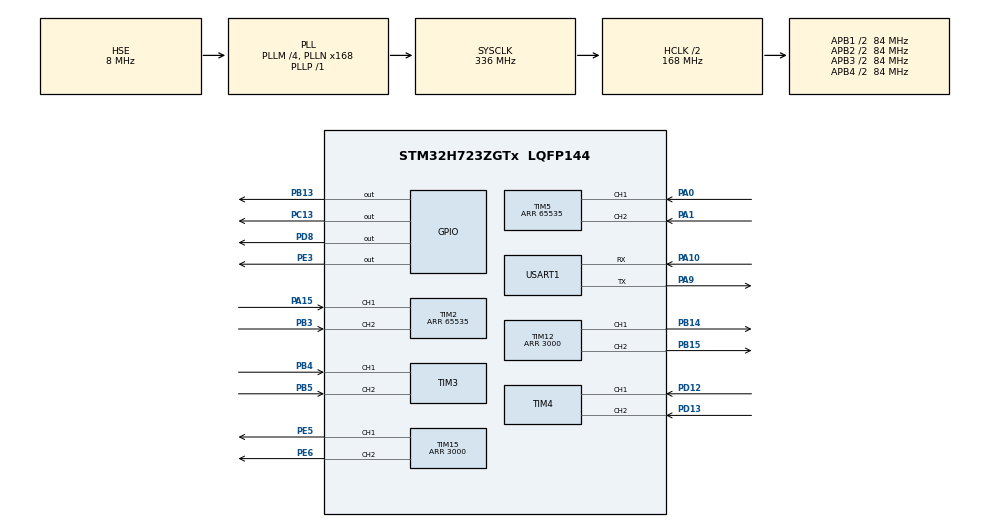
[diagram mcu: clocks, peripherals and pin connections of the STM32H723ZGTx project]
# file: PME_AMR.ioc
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Dma.Request0=USART1_RX
Dma.Request1=USART1_TX
Dma.USART1_RX.0.Direction=DMA_PERIPH_TO_MEMORY
Dma.USART1_RX.0.EventEnable=DISABLE
Dma.USART1_RX.0.FIFOMode=DMA_FIFOMODE_DISABLE
Dma.USART1_RX.0.Instance=DMA1_Stream0
Dma.USART1_RX.0.MemDataAlignment=DMA_MDATAALIGN_BYTE
Dma.USART1_RX.0.MemInc=DMA_MINC_ENABLE
Dma.USART1_RX.0.Mode=DMA_CIRCULAR
Dma.USART1_RX.0.PeriphDataAlignment=DMA_PDATAALIGN_BYTE
Dma.USART1_RX.0.PeriphInc=DMA_PINC_DISABLE
Dma.USART1_RX.0.Polarity=HAL_DMAMUX_REQ_GEN_RISING
Dma.USART1_RX.0.Priority=DMA_PRIORITY_HIGH
Dma.USART1_RX.0.RequestNumber=1
Dma.USART1_RX.0.SignalID=NONE
Dma.USART1_RX.0.SyncEnable=DISABLE
Dma.USART1_RX.0.SyncPolarity=HAL_DMAMUX_SYNC_NO_EVENT
Dma.USART1_RX.0.SyncRequestNumber=1
Dma.USART1_RX.0.SyncSignalID=NONE
Dma.USART1_TX.1.Direction=DMA_MEMORY_TO_PERIPH
Dma.USART1_TX.1.EventEnable=DISABLE
Dma.USART1_TX.1.FIFOMode=DMA_FIFOMODE_DISABLE
Dma.USART1_TX.1.Instance=DMA1_Stream1
Dma.USART1_TX.1.MemDataAlignment=DMA_MDATAALIGN_BYTE
Dma.USART1_TX.1.MemInc=DMA_MINC_ENABLE
Dma.USART1_TX.1.Mode=DMA_NORMAL
Dma.USART1_TX.1.PeriphDataAlignment=DMA_PDATAALIGN_BYTE
Dma.USART1_TX.1.PeriphInc=DMA_PINC_DISABLE
Dma.USART1_TX.1.Polarity=HAL_DMAMUX_REQ_GEN_RISING
Dma.USART1_TX.1.Priority=DMA_PRIORITY_HIGH
Dma.USART1_TX.1.RequestNumber=1
Dma.USART1_TX.1.SignalID=NONE
Dma.USART1_TX.1.SyncEnable=DISABLE
Dma.USART1_TX.1.SyncPolarity=HAL_DMAMUX_SYNC_NO_EVENT
Dma.USART1_TX.1.SyncRequestNumber=1
Dma.USART1_TX.1.SyncSignalID=NONE
Mcu.Family=STM32H7
Mcu.Name=STM32H723ZGTx
Mcu.Package=LQFP144
NVIC.DMA1_Stream0_IRQn=true\:0\:0\:false\:false\:true\:false\:true\:true
NVIC.DMA1_Stream1_IRQn=true\:0\:0\:false\:false\:true\:false\:true\:true
NVIC.PriorityGroup=NVIC_PRIORITYGROUP_4
NVIC.TIM23_IRQn=true\:0\:0\:false\:false\:true\:true\:true\:true
NVIC.TIM2_IRQn=true\:0\:0\:false\:false\:true\:true\:true\:true
NVIC.TIM3_IRQn=true\:0\:0\:false\:false\:true\:true\:true\:true
NVIC.TIM4_IRQn=true\:0\:0\:false\:false\:true\:true\:true\:true
NVIC.TIM5_IRQn=true\:0\:0\:false\:false\:true\:true\:true\:true
NVIC.USART1_IRQn=true\:0\:0\:false\:false\:true\:true\:true\:true
PA0.Signal=S_TIM5_CH1
PA1.Signal=S_TIM5_CH2
PA10.Mode=Asynchronous
PA10.Signal=USART1_RX
PA15(JTDI).Signal=S_TIM2_CH1_ETR
PA9.Mode=Asynchronous
PA9.Signal=USART1_TX
PB13.Signal=GPIO_Output
PB14.Signal=S_TIM12_CH1
PB15.Signal=S_TIM12_CH2
PB3(JTDO/TRACESWO).Signal=S_TIM2_CH2
PB4(NJTRST).Signal=S_TIM3_CH1
PB5.Signal=S_TIM3_CH2
PC13.Signal=GPIO_Output
PD12.Signal=S_TIM4_CH1
PD13.Signal=S_TIM4_CH2
PD8.Signal=GPIO_Output
PE3.Signal=GPIO_Output
PE5.Signal=S_TIM15_CH1
PE6.Signal=S_TIM15_CH2
PH0-OSC_IN.Mode=HSE-External-Oscillator
PH0-OSC_IN.Signal=RCC_OSC_IN
PH1-OSC_OUT.Mode=HSE-External-Oscillator
PH1-OSC_OUT.Signal=RCC_OSC_OUT
ProjectManager.HeapSize=0x200
ProjectManager.StackSize=0x400
ProjectManager.TargetToolchain=STM32CubeIDE
RCC.ADCFreq_Value=76000000
RCC.APB1Freq_Value=84000000
RCC.APB2Freq_Value=84000000
RCC.APB3Freq_Value=84000000
RCC.APB4Freq_Value=84000000
RCC.CortexFreq_Value=336000000
RCC.D1PPRE=RCC_APB3_DIV2
RCC.D2PPRE1=RCC_APB1_DIV2
RCC.D2PPRE2=RCC_APB2_DIV2
RCC.D3PPRE=RCC_APB4_DIV2
RCC.DIVM1=4
RCC.DIVM2=1
RCC.DIVN1=168
RCC.DIVN2=19
RCC.DIVP1=1
RCC.DIVQ1=4
RCC.HCLKFreq_Value=168000000
RCC.HPRE=RCC_HCLK_DIV2
RCC.HSE_VALUE=8000000
RCC.PLLFRACN=0
RCC.PLLSourceVirtual=RCC_PLLSOURCE_HSE
RCC.SYSCLKFreq_VALUE=336000000
RCC.SYSCLKSource=RCC_SYSCLKSOURCE_PLLCLK
RCC.USBCLockSelection=RCC_USBCLKSOURCE_HSI48
RCC.USBFreq_Value=48000000
SH.S_TIM12_CH1.0=TIM12_CH1,PWM Generation1 CH1
SH.S_TIM12_CH2.0=TIM12_CH2,PWM Generation2 CH2
SH.S_TIM15_CH1.0=TIM15_CH1,PWM Generation1 CH1
SH.S_TIM15_CH2.0=TIM15_CH2,PWM Generation2 CH2
SH.S_TIM2_CH1_ETR.0=TIM2_CH1,Encoder_Interface
SH.S_TIM2_CH2.0=TIM2_CH2,Encoder_Interface
SH.S_TIM3_CH1.0=TIM3_CH1,Encoder_Interface
SH.S_TIM3_CH2.0=TIM3_CH2,Encoder_Interface
SH.S_TIM4_CH1.0=TIM4_CH1,Encoder_Interface
SH.S_TIM4_CH2.0=TIM4_CH2,Encoder_Interface
SH.S_TIM5_CH1.0=TIM5_CH1,Encoder_Interface
SH.S_TIM5_CH2.0=TIM5_CH2,Encoder_Interface
TIM12.Channel-PWM\ Generation1\ CH1=TIM_CHANNEL_1
TIM12.Channel-PWM\ Generation2\ CH2=TIM_CHANNEL_2
TIM12.Period=3000
TIM15.Channel-PWM\ Generation1\ CH1=TIM_CHANNEL_1
TIM15.Channel-PWM\ Generation2\ CH2=TIM_CHANNEL_2
TIM15.Period=3000
TIM2.EncoderMode=TIM_ENCODERMODE_TI12
TIM2.Period=65535
TIM23.Period=11999
TIM23.Prescaler=13
TIM3.EncoderMode=TIM_ENCODERMODE_TI12
TIM4.EncoderMode=TIM_ENCODERMODE_TI12
TIM5.EncoderMode=TIM_ENCODERMODE_TI12
TIM5.Period=65535
USART1.VirtualMode-Asynchronous=VM_ASYNC
VP_TIM23_VS_ClockSourceINT.Mode=Internal
board=NUCLEO-H723ZG

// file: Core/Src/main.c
/* USER CODE BEGIN Header */
/**
  ******************************************************************************
  * @file           : main.c
  * @brief          : Main program body
  ******************************************************************************
  * @attention
  *
  * Copyright (c) 2023 STMicroelectronics.
  * All rights reserved.
  *
  * This software is licensed under terms that can be found in the LICENSE file
  * in the root directory of this software component.
  * If no LICENSE file comes with this software, it is provided AS-IS.
  *
  ******************************************************************************
  */
/* USER CODE END Header */
#include "main.h"
#include "dma.h"
#include "tim.h"
#include "usart.h"
#include "gpio.h"

/* USER CODE BEGIN PV */
int odom_count;
/* USER CODE END PV */

void SystemClock_Config(void);

int main(void)
{

  /* MCU Configuration--------------------------------------------------------*/

  /* Reset of all peripherals, Initializes the Flash interface and the Systick. */
   HAL_Init();

  /* Configure the system clock */
  SystemClock_Config();

  /* Initialize all configured peripherals */
  MX_GPIO_Init();
  MX_DMA_Init();
  MX_USART1_UART_Init();
  MX_TIM12_Init();
  MX_TIM15_Init();
  MX_TIM2_Init();
  MX_TIM3_Init();
  MX_TIM4_Init();
  MX_TIM5_Init();
  MX_TIM23_Init();
  /* USER CODE BEGIN 2 */

//	HAL_TIM_Encoder_Start(&htim2, TIM_CHANNEL_1 | TIM_CHANNEL_2);
  HAL_TIM_Base_Start_IT(&Encoder_Interrupt_timer);
  Control_Init();
  Rosserial_Init();
  odom_count = 0;

  /* USER CODE END 2 */

  /* Infinite loop */
  /* USER CODE BEGIN WHILE */
  while (1)
  {
//  	HAL_GPIO_WritePin(WheelD.DIR_pin_type, WheelD.DIR_pin_Num, GPIO_PIN_SET);
//    	__HAL_TIM_SET_COMPARE(&(WheelD.pwm_timer), WheelD.pwm_timer_channel, 1500);

//  	HAL_GPIO_WritePin(GPIOE, GPIO_PIN_3, GPIO_PIN_SET);
//  	__HAL_TIM_SET_COMPARE(&htim15, TIM_CHANNEL_1, 3000);
//  	a = __HAL_TIM_GetCounter(&htim2);

    /* USER CODE END WHILE */

    /* USER CODE BEGIN 3 */
//  	Rosserial_Spin();
  }
  /* USER CODE END 3 */
}

void SystemClock_Config(void)
{
  RCC_OscInitTypeDef RCC_OscInitStruct = {0};
  RCC_ClkInitTypeDef RCC_ClkInitStruct = {0};

  /** Supply configuration update enable
  */
  HAL_PWREx_ConfigSupply(PWR_LDO_SUPPLY);

  /** Configure the main internal regulator output voltage
  */
  __HAL_PWR_VOLTAGESCALING_CONFIG(PWR_REGULATOR_VOLTAGE_SCALE1);

  while(!__HAL_PWR_GET_FLAG(PWR_FLAG_VOSRDY)) {}

  /** Initializes the RCC Oscillators according to the specified parameters
  * in the RCC_OscInitTypeDef structure.
  */
  RCC_OscInitStruct.OscillatorType = RCC_OSCILLATORTYPE_HSE;
  RCC_OscInitStruct.HSEState = RCC_HSE_ON;
  RCC_OscInitStruct.PLL.PLLState = RCC_PLL_ON;
  RCC_OscInitStruct.PLL.PLLSource = RCC_PLLSOURCE_HSE;
  RCC_OscInitStruct.PLL.PLLM = 4;
  RCC_OscInitStruct.PLL.PLLN = 168;
  RCC_OscInitStruct.PLL.PLLP = 1;
  RCC_OscInitStruct.PLL.PLLQ = 4;
  RCC_OscInitStruct.PLL.PLLR = 2;
  RCC_OscInitStruct.PLL.PLLRGE = RCC_PLL1VCIRANGE_1;
  RCC_OscInitStruct.PLL.PLLVCOSEL = RCC_PLL1VCOWIDE;
  RCC_OscInitStruct.PLL.PLLFRACN = 0;
  if (HAL_RCC_OscConfig(&RCC_OscInitStruct) != HAL_OK)
  {
    Error_Handler();
  }

  /** Initializes the CPU, AHB and APB buses clocks
  */
  RCC_ClkInitStruct.ClockType = RCC_CLOCKTYPE_HCLK|RCC_CLOCKTYPE_SYSCLK
                              |RCC_CLOCKTYPE_PCLK1|RCC_CLOCKTYPE_PCLK2
                              |RCC_CLOCKTYPE_D3PCLK1|RCC_CLOCKTYPE_D1PCLK1;
  RCC_ClkInitStruct.SYSCLKSource = RCC_SYSCLKSOURCE_PLLCLK;
  RCC_ClkInitStruct.SYSCLKDivider = RCC_SYSCLK_DIV1;
  RCC_ClkInitStruct.AHBCLKDivider = RCC_HCLK_DIV2;
  RCC_ClkInitStruct.APB3CLKDivider = RCC_APB3_DIV2;
  RCC_ClkInitStruct.APB1CLKDivider = RCC_APB1_DIV2;
  RCC_ClkInitStruct.APB2CLKDivider = RCC_APB2_DIV2;
  RCC_ClkInitStruct.APB4CLKDivider = RCC_APB4_DIV2;

  if (HAL_RCC_ClockConfig(&RCC_ClkInitStruct, FLASH_LATENCY_2) != HAL_OK)
  {
    Error_Handler();
  }
}

/* USER CODE BEGIN 4 */
void HAL_TIM_PeriodElapsedCallback(TIM_HandleTypeDef *htim)
{
	if(htim->Instance == Encoder_Interrupt_timer.Instance)
	{
		odom_count++;
		if(odom_count == 10)
		{
			odom_count = 0;
			odom_publish();
		}
//		WheelA.goal = 0.0;
//		WheelB.goal = 0.0;
//		WheelC.goal = 0.0;
//		WheelD.goal = 0.0;

		Rosserial_Spin();
//		if (Rosserial_Checkconfigstate() == false)
//		{
//			linearvelocity_x = 0.0;
//			linearvelocity_y = 0.0;
//			angularvelocity = 0.0;
//		}
		Forward_Kinematics(linearvelocity_x, linearvelocity_y, angularvelocity);
		PID_Controller(&WheelA);
		PID_Controller(&WheelB);
		PID_Controller(&WheelC);
		PID_Controller(&WheelD);
		Inverse_Kinematics(&WheelA, &WheelB, &WheelC, &WheelD);
	}
}

void HAL_UART_ErrorCallback(UART_HandleTypeDef *huart)
{
	if(huart == &huart1)
	{
		linearvelocity_x = 0;
		linearvelocity_y = 0;
		angularvelocity = 0;
		HAL_UART_DeInit(&huart1);
		MX_USART1_UART_Init();
		Rosserial_GetHardware();
	}
}
/* USER CODE END 4 */

void Error_Handler(void)
{
  __disable_irq();
  while (1)
  {
  }
}
